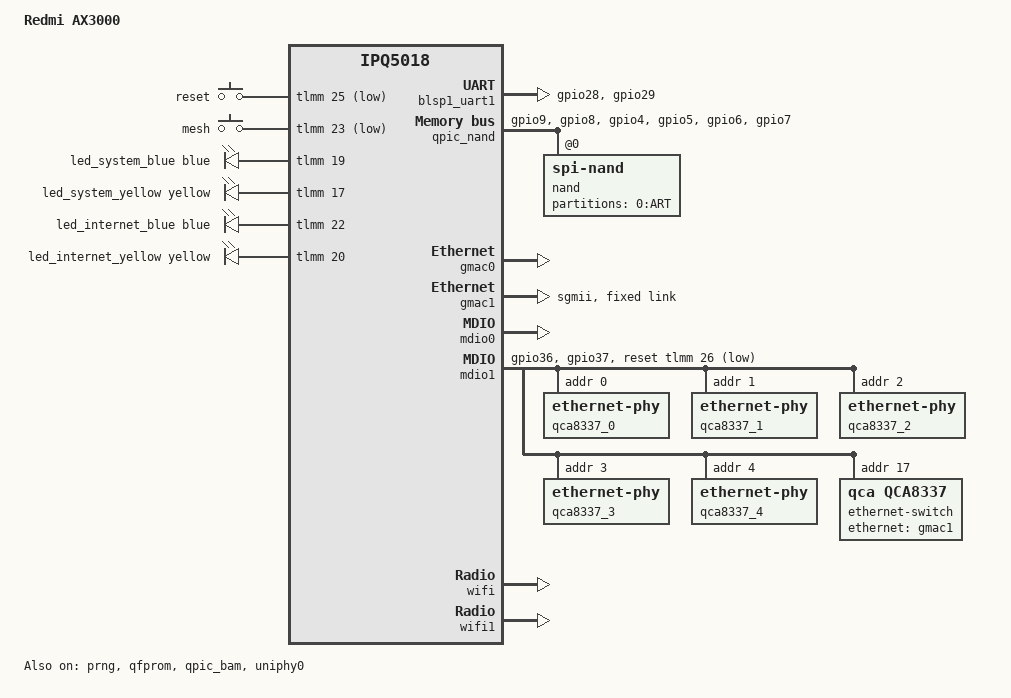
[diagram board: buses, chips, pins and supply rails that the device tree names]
// SPDX-License-Identifier: GPL-2.0-or-later OR MIT

/dts-v1/;

/*
 * The arm subtarget builds this same board for 32-bit ARM (the device's
 * bootloader cannot start an AArch64 kernel); ipq5018-arm.dtsi reuses the
 * arm64 SoC description with the arch specific bits overridden.
 */
#ifdef __ARM32__
#include "ipq5018-arm.dtsi"
#else
#include "ipq5018.dtsi"
#endif
#include "ipq5018-ess.dtsi"
#include "ipq5018-qcn6122.dtsi"

#include <dt-bindings/gpio/gpio.h>
#include <dt-bindings/input/input.h>
#include <dt-bindings/leds/common.h>

/ {
	model = "Redmi AX3000";
	compatible = "redmi,ax3000", "qcom,ipq5018";

	aliases {
		label-mac-device = <&gmac0>;
		led-boot = &led_system_blue;
		led-failsafe = &led_system_yellow;
		led-running = &led_system_blue;
		led-upgrade = &led_system_yellow;
		serial0 = &blsp1_uart1;
	};

	chosen {
		/*
		 * Xiaomi's U-Boot sets ubi.mtd=rootfs or rootfs_1 depending on
		 * the booted slot, so it must not be overridden here. Within the
		 * UBI the kernel is volume 0 and the rootfs is volume 1.
		 */
		bootargs-append = " root=/dev/ubiblock0_1 swiotlb=1 coherent_pool=2M";
		stdout-path = "serial0:115200n8";
	};

	keys {
		compatible = "gpio-keys";
		pinctrl-0 = <&button_pins>;
		pinctrl-names = "default";

		reset-button {
			label = "reset";
			gpios = <&tlmm 25 GPIO_ACTIVE_LOW>;
			linux,code = <KEY_RESTART>;
		};

		mesh-button {
			label = "mesh";
			gpios = <&tlmm 23 GPIO_ACTIVE_LOW>;
			linux,code = <KEY_WPS_BUTTON>;
		};
	};

	leds {
		compatible = "gpio-leds";
		pinctrl-0 = <&leds_pins>;
		pinctrl-names = "default";

		led_system_blue: system-blue {
			color = <LED_COLOR_ID_BLUE>;
			function = LED_FUNCTION_STATUS;
			gpios = <&tlmm 19 GPIO_ACTIVE_HIGH>;
		};

		led_system_yellow: system-yellow {
			color = <LED_COLOR_ID_YELLOW>;
			function = LED_FUNCTION_STATUS;
			gpios = <&tlmm 17 GPIO_ACTIVE_HIGH>;
		};

		led_internet_blue: internet-blue {
			color = <LED_COLOR_ID_BLUE>;
			function = LED_FUNCTION_WAN;
			gpios = <&tlmm 22 GPIO_ACTIVE_HIGH>;
		};

		led_internet_yellow: internet-yellow {
			color = <LED_COLOR_ID_YELLOW>;
			function = LED_FUNCTION_WAN;
			gpios = <&tlmm 20 GPIO_ACTIVE_HIGH>;
		};
	};
};

&sleep_clk {
	clock-frequency = <32000>;
};

&xo_board_clk {
	clock-div = <4>;
	clock-mult = <1>;
};

&blsp1_uart1 {
	status = "okay";

	pinctrl-0 = <&serial_0_pins>;
	pinctrl-names = "default";
};

&prng {
	status = "okay";
};

&qfprom {
	status = "okay";
};

&qpic_bam {
	status = "okay";
};

&qpic_nand {
	pinctrl-0 = <&qpic_pins>;
	pinctrl-names = "default";
	status = "okay";

	nand@0 {
		compatible = "spi-nand";
		reg = <0>;
		nand-ecc-engine = <&qpic_nand>;
		nand-ecc-step-size = <512>;
		nand-ecc-strength = <8>;
		nand-bus-width = <8>;

#ifndef __ARM32__
		/*
		 * On the 32-bit ARM build the partition table is NOT provided
		 * through SMEM: the vendor U-Boot passes it on the kernel
		 * command line (mtdparts=nand0:...(fs),${msmparts}), and the
		 * arm subtarget therefore disables CONFIG_MTD_QCOMSMEM_PARTS.
		 * Declaring qcom,smem-part there makes the kernel look for a
		 * table that does not exist, so it ends up without partitions
		 * and cannot find the rootfs (the device does not boot at all).
		 */
		partitions {
			compatible = "qcom,smem-part";

			partition-art {
				label = "0:ART";
				read-only;

				nvmem-layout {
					compatible = "fixed-layout";
					#address-cells = <1>;
					#size-cells = <1>;

					macaddr_art_0: macaddr@0 {
						compatible = "mac-base";
						reg = <0x0 0x6>;
						#nvmem-cell-cells = <1>;
					};

					macaddr_art_6: macaddr@6 {
						compatible = "mac-base";
						reg = <0x6 0x6>;
						#nvmem-cell-cells = <1>;
					};
				};
			};
		};
#endif
	};
};

&uniphy0 {
	status = "okay";

	assigned-clocks = <&uniphy0 UNIPHY_CLK_REF>;
	assigned-clock-rates = <UNIPHY_REFCLK_25MHZ>;
};

/* MAC0 -> GE Phy -> QCA8337 Phy4 */
&gmac0 {
	status = "okay";

#ifndef __ARM32__
	nvmem-cells = <&macaddr_art_6 (0)>;
	nvmem-cell-names = "mac-address";
#endif
};

/* MAC1 ---SGMII---> QCA8337 SerDes (DSA conduit) */
&gmac1 {
	status = "okay";

	phy-mode = "sgmii";

#ifndef __ARM32__
	nvmem-cells = <&macaddr_art_0 (0)>;
	nvmem-cell-names = "mac-address";
#endif

	fixed-link {
		speed = <1000>;
		full-duplex;
	};
};

&mdio0 {
	status = "okay";
};

/* IPQ5000 GE Phy -> QCA8337 Phy4 */
&ge_phy {
	qcom,dac-preset-short-cable;
};

&mdio1 {
	status = "okay";

	pinctrl-0 = <&mdio1_pins>;
	pinctrl-names = "default";
	reset-gpios = <&tlmm 26 GPIO_ACTIVE_LOW>;

	/* QCA8337 Phy0 -> LAN1 */
	qca8337_0: ethernet-phy@0 {
		reg = <0>;
	};

	/* QCA8337 Phy1 -> LAN2 */
	qca8337_1: ethernet-phy@1 {
		reg = <1>;
	};

	/* QCA8337 Phy2 -> LAN3 */
	qca8337_2: ethernet-phy@2 {
		reg = <2>;
	};

	/* QCA8337 Phy3 -> WAN */
	qca8337_3: ethernet-phy@3 {
		reg = <3>;
	};

	/* QCA8337 Phy4 -> IPQ5000 GE Phy */
	qca8337_4: ethernet-phy@4 {
		reg = <4>;
	};

	/* QCA8337 switch */
	ethernet-switch@11 {
		compatible = "qca,qca8337";
		reg = <0x11>;

		ethernet-ports {
			#address-cells = <1>;
			#size-cells = <0>;

			ethernet-port@1 {
				reg = <1>;
				label = "lan1";
				phy-handle = <&qca8337_0>;
			};

			ethernet-port@2 {
				reg = <2>;
				label = "lan2";
				phy-handle = <&qca8337_1>;
			};

			ethernet-port@3 {
				reg = <3>;
				label = "lan3";
				phy-handle = <&qca8337_2>;
			};

			ethernet-port@4 {
				reg = <4>;
				label = "wan";
				phy-handle = <&qca8337_3>;

#ifndef __ARM32__
				nvmem-cells = <&macaddr_art_6 (0)>;
				nvmem-cell-names = "mac-address";
#endif
			};

			/*
			 * The QCA8337 CPU port is port 6, wired over SGMII to MAC1.
			 * Port 5 (the GE PHY link) is deliberately not described:
			 * adding it stops the WAN port from working, exactly as on
			 * the other IPQ5018 boards upstream.
			 */
			ethernet-port@6 {
				reg = <6>;
				phy-mode = "sgmii";
				ethernet = <&gmac1>;
				qca,sgmii-enable-pll;

				fixed-link {
					speed = <1000>;
					full-duplex;
				};
			};
		};
	};
};

&tlmm {
	button_pins: button-state {
		pins = "gpio23", "gpio25";
		function = "gpio";
		drive-strength = <8>;
		bias-pull-up;
	};

	leds_pins: leds-state {
		pins = "gpio17", "gpio19", "gpio20", "gpio22";
		function = "gpio";
		drive-strength = <8>;
		bias-pull-down;
	};

	mdio1_pins: mdio-state {
		mdc-pins {
			pins = "gpio36";
			function = "mdc";
			drive-strength = <8>;
			bias-pull-up;
		};

		mdio-pins {
			pins = "gpio37";
			function = "mdio";
			drive-strength = <8>;
			bias-pull-up;
		};
	};

	qpic_pins: qpic-state {
		clock-pins {
			pins = "gpio9";
			function = "qspi_clk";
			drive-strength = <8>;
			bias-disable;
		};

		cs-pins {
			pins = "gpio8";
			function = "qspi_cs";
			drive-strength = <8>;
			bias-disable;
		};

		data-pins {
			pins = "gpio4", "gpio5", "gpio6", "gpio7";
			function = "qspi_data";
			drive-strength = <8>;
			bias-disable;
		};
	};

	serial_0_pins: uart0-state {
		pins = "gpio28", "gpio29";
		function = "blsp0_uart1";
		drive-strength = <8>;
		bias-disable;
	};
};

&q6v5_wcss {
	boot-args = </*       type: */ 0x2 /* PCIE1 */
		     /*     length: */ 4
		     /*      PD id: */ 2
		     /* reset GPIO: */ 27
		     /*   reserved: */ 0 0>;
};

&wifi {
	status = "okay";

	/*
	 * IPQ5000 2.4 GHz. The board id is reported by the target itself
	 * (M79: 16 / 0x10, M81: 36 / 0x24) and matched against the variants
	 * in the board-2.bin shipped by ipq-wifi-redmi_ax3000.
	 */
	qcom,rproc = <&q6_wcss_pd1>;
	qcom,ath11k-fw-memory-mode = <2>;
	qcom,bdf-addr = <0x4c400000>;
};

&wifi1 {
	status = "okay";

	/* QCN6102 / QCN6122 5 GHz */
	qcom,rproc = <&q6_wcss_pd2>;
	qcom,userpd-subsys-name = "q6v5_wcss_userpd2";
	qcom,ath11k-fw-memory-mode = <2>;
	qcom,bdf-addr = <0x4d100000>;
	qcom,m3-dump-addr = <0x4df00000>;
};
